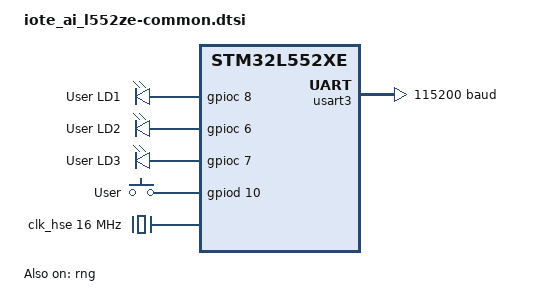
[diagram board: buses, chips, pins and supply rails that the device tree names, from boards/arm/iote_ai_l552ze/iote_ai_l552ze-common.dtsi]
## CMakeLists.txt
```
# SPDX-License-Identifier: Apache-2.0

cmake_minimum_required(VERSION 3.13.1)
# Re-direct the directory where the 'boards' directory is found from
# $ZEPHYR_BASE to this directory.
set(BOARD_ROOT ${CMAKE_CURRENT_LIST_DIR})

# This sample is only compatible with iote_ai_l552ze
set(BOARD iote_ai_l552ze)

find_package(Zephyr REQUIRED HINTS $ENV{ZEPHYR_BASE})
project(iote_ai_stm32l5)

# A simple Blinky test
#target_sources(app PRIVATE src/main.c)

# A simple IMU test
#target_sources(app PRIVATE src/main_mpu6050.c)

# A simple shell test
target_sources(app PRIVATE src/main_shell.c src/test_module.c)
target_sources_ifdef(CONFIG_SHELL_DYNAMIC_CMDS app PRIVATE src/dynamic_cmd.c src/qsort.c)
target_sources_ifdef(CONFIG_SHELL_BACKEND_SERIAL app PRIVATE src/uart_reinit.c)

# For overriding the clock control
#target_sources(app PRIVATE src/stm32_hal/clock_config.c)
```

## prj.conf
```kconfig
#
# Copyright (c) 2020 Petri Oksanen
#
# SPDX-License-Identifier: Apache-2.0
#

CONFIG_I2C=y
CONFIG_SENSOR=y
CONFIG_MPU6050=y
CONFIG_MPU6050_TRIGGER_NONE=y
CONFIG_CBPRINTF_FP_SUPPORT=y

CONFIG_LOG=y
CONFIG_LOG_RUNTIME_FILTERING=y
CONFIG_LOG_BUFFER_SIZE=2048
CONFIG_LOG_PROCESS_TRIGGER_THRESHOLD=0
CONFIG_LOG_DEFAULT_LEVEL=4

# The Zephyr CMSIS emulation assumes that ticks are ms, currently
CONFIG_SYS_CLOCK_TICKS_PER_SEC=1000

CONFIG_MAIN_STACK_SIZE=4096
CONFIG_HEAP_MEM_POOL_SIZE=4096

CONFIG_SHELL=y
CONFIG_SHELL_STACK_SIZE=8192
```

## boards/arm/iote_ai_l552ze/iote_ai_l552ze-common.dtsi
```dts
/*
 * Copyright (c) 2020 Petri Oksanen
 *
 * SPDX-License-Identifier: Apache-2.0
 */

 #include <st/l5/stm32l552Xe.dtsi>
 #include <st/l5/stm32l552z(c-e)txq-pinctrl.dtsi>
 
/* 0x4000D400UL usb */

 / {
     leds {
         compatible = "gpio-leds";
         green_led_1: led_1 {
             gpios = <&gpioc 8 GPIO_ACTIVE_HIGH>;
             label = "User LD1";
         };
         blue_led_1: led_2 {
             gpios = <&gpioc 6 GPIO_ACTIVE_HIGH>;
             label = "User LD2";
         };
         red_led_1: led_3 {
             gpios = <&gpioc 7 GPIO_ACTIVE_HIGH>;
             label = "User LD3";
         };
     };
 
     gpio_keys {
         compatible = "gpio-keys";
         user_button: button {
             label = "User";
             gpios = <&gpiod 10 GPIO_ACTIVE_HIGH>;
         };
     };

     power-states {
		stop0: state0 {
			compatible = "zephyr,power-state";
			power-state-name = "suspend-to-idle";
			substate-id = <1>;
			min-residency-us = <100>;
		};
		stop1: state1 {
			compatible = "zephyr,power-state";
			power-state-name = "suspend-to-idle";
			substate-id = <2>;
			min-residency-us = <500>;
		};
		stop2: state2 {
			compatible = "zephyr,power-state";
			power-state-name = "suspend-to-idle";
			substate-id = <3>;
			min-residency-us = <900>;
		};
	};
};
/* 
&clk_msi {
	status = "okay";
	msi-range = <6>;
	msi-pll-mode;
};

&clk_lse {
	status = "okay";
};

&pll {
	div-m = <1>;
	mul-n = <55>;
	div-p = <7>;
	div-q = <2>;
	div-r = <2>;
	clocks = <&clk_msi>;
	status = "okay";
};

&rcc {
	clocks = <&pll>;
	clock-frequency = <DT_FREQ_M(110)>;
	ahb-prescaler = <1>;
	apb1-prescaler = <1>;
	apb2-prescaler = <1>;
};
*/
 &clk_hse {
	clock-frequency = <DT_FREQ_M(16)>;
	status = "okay";
};

 &pll {
     div-m = <2>;
     mul-n = <24>;
     div-p = <7>;
     div-q = <4>;
     div-r = <2>;
     clocks = <&clk_hse>;
     status = "okay";
 };
 
 &rcc {
     clocks = <&pll>;
     clock-frequency = <DT_FREQ_M(110)>;
     ahb-prescaler = <1>;
     apb1-prescaler = <1>;
     apb2-prescaler = <1>;
 };
 
 &clk_lse {
	status = "okay";
};

 &rng {
     status = "okay";
 };
 
 &usart3 {
    current-speed = <115200>;
    status = "okay";
};

/* 
&spi1 {
	pinctrl-0 = <&spi1_sck_pg2 &spi1_miso_pg3 &spi1_mosi_pg4>;
	status = "okay";
	cs-gpios = <&gpiog 5 GPIO_ACTIVE_LOW>;
	w25q128jvs: w25q128jvs@0 {
		compatible = "jedec,spi-nor";
		label = "W25Q128JVS";
		reg = <0>;
		spi-max-frequency = <40000000>;
		size = <0x1000000>;
		has-dpd;
		t-enter-dpd = <4000>;
		t-exit-dpd = <25000>;
		jedec-id = [ef 40 15];
	};
};
*/
```

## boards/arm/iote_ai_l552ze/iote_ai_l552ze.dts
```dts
/*
 * Copyright (c) 2021 Petri Oksanen
 *
 * SPDX-License-Identifier: Apache-2.0
 */

 /dts-v1/;
 #include "iote_ai_l552ze-common.dtsi"
 
 / {

     model = "IOTE.AI L552ZE board";
     compatible = "iote_ai,iote-ai-l552ze";
 
     #address-cells = <1>;
     #size-cells = <1>;

/* 
     soc {
		usbotg_fs: otgfs@000d400 {
			compatible = "st,stm32-otgfs";
			reg = <0x000d400 0x40000>;
			interrupts = <67 0>;
			interrupt-names = "otgfs";
			num-bidir-endpoints = <6>;
			ram-size = <1280>;
			maximum-speed = "full-speed";
			phys = <&otgfs_phy>;
			clocks = <&rcc STM32_CLOCK_BUS_AHB2 0x00001000>;
			status = "disabled";
			label= "OTGFS";
		};
*/
/* 
		can {
			can1: can@4000d400 {
				compatible = "st,stm32-fdcan";
				#address-cells = <1>;
				#size-cells = <0>;
				reg = <0x4000d400 0x400>, <0x4000d800 0x400>;
				reg-names = "m_can", "message_ram";
				interrupts = <39 0>, <40 0>;
				interrupt-names = "LINE_0", "LINE_1";
				status = "disabled";
				label = "CAN_1";
			};
		};
*/
/*
	};
*/

/*
	otgfs_phy: otgfs_phy {
		compatible = "usb-nop-xceiv";
		#phy-cells = <0>;
		label = "OTGFS_PHY";
	};
*/

/*
     soc {
        usb: usb@4000d400 {
			compatible = "st,stm32-usb";
			reg = <0x4000d400 0x40000>;
			interrupts = <67 0>;
			interrupt-names = "usb";
			num-bidir-endpoints = <8>;
			ram-size = <1024>;
			maximum-speed = "full-speed";
			phys = <&usb_fs_phy>;
			clocks = <&rcc STM32_CLOCK_BUS_APB1 0x04000000>;
			status = "disabled";
			label = "USB";
		};
    };

     usb_fs_phy: usbphy {
		compatible = "usb-nop-xceiv";
		#phy-cells = <0>;
		label = "USB_FS_PHY";
	};
*/
     chosen {
         zephyr,console = &usart3;
         zephyr,shell-uart = &usart3;
         zephyr,sram = &sram0;
         zephyr,flash = &flash0;
     };
 
     aliases {
        led0 = &green_led_1;
        led1 = &blue_led_1;
        led2 = &red_led_1;
        sw0 = &user_button;
  /*      usb = &usbotg_fs; */
     };
 };
 
 &cpu0 {
	cpu-power-states = <&stop0 &stop1 &stop2>;
};
 
&lptim1 {
	status = "okay";
};

&usart1 {
    hw-flow-control;
    pinctrl-0 = <&usart1_tx_pg9
                 &usart1_rx_pg10>;
/*                 &usart1_rts_pg12
                 &usart1_cts_pg11>; */
    current-speed = <115200>;
    status = "okay";
};

&usart2 {
    hw-flow-control;
    pinctrl-0 = <&usart2_tx_pa2
                 &usart2_rx_pa3
                 &usart2_rts_pa1
                 &usart2_cts_pa0>;
    current-speed = <115200>;
    status = "okay";
};

&usart3 {
/*    hw-flow-control;
    pinctrl-0 = <&usart3_tx_pd8
                 &usart3_rx_pd9
                 &usart3_rts_pd12
                 &usart3_cts_pb13>;
*/
	pinctrl-0 = <&usart3_tx_pd8
				 &usart3_rx_pd9>;
};

/* 
&usbotg_fs {
	status = "disabled";
	pinctrl-0 = <&usb_dm_pa11 &usb_dp_pa12>;
};
*/
/*

&can1 {
	pinctrl-0 = <&can1_rx_pd0 &can1_tx_pd1>;
	bus-speed = <125000>;
	sjw = <1>;
	prop-seg = <0>;
	phase-seg1 = <6>;
	phase-seg2 = <5>;
	status = "disabled";
};
*/


&spi1 {
	pinctrl-0 = <&spi1_sck_pg2 &spi1_miso_pg3 &spi1_mosi_pg4>;
	status = "okay";
	cs-gpios = <&gpiog 5 GPIO_ACTIVE_LOW>;
};

&i2c1 {
	pinctrl-0 = <&i2c1_scl_pg14 &i2c1_sda_pg13>;
	status = "okay";
	clock-frequency = <I2C_BITRATE_FAST>;

	mpu6050@68 {
		compatible = "invensense,mpu6050";
		reg = <0x68>;
		status = "okay";
		label = "MPU6050";
		int-gpios = <&gpioa 8 GPIO_ACTIVE_HIGH>;
/*		irq-gpios = <&gpioa 8 GPIO_ACTIVE_HIGH>; */
	};
};

/*
&rtc {
	status = "okay";
};
*/
```

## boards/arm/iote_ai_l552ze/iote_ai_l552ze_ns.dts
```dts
/*
 * Copyright (c) 2020 Petri Oksanen
 *
 * SPDX-License-Identifier: Apache-2.0
 */

 /dts-v1/;
 #include "iote_ai_l552ze-common.dtsi"
 
 / {
     model = "IOTE.AI L552ZE board";
     compatible = "iote_ai,iote-ai-l552ze";
 
     #address-cells = <1>;
     #size-cells = <1>;
 
     chosen {
         zephyr,console = &usart3;
         zephyr,shell-uart = &usart3;
         zephyr,sram = &sram0;
         zephyr,flash = &flash0;
     };
 
     aliases {
        led0 = &green_led_1;
        led1 = &blue_led_1;
        led2 = &red_led_1;
        sw0 = &user_button;
     };
 };
 
 &cpu0 {
	cpu-power-states = <&stop0 &stop1 &stop2>;
};
 
&lptim1 {
	status = "okay";
};

&usart1 {
    hw-flow-control;
    pinctrl-0 = <&usart1_tx_pg9
                 &usart1_rx_pg10
                 &usart1_rts_pg12
                 &usart1_cts_pg11>;
    current-speed = <115200>;
    status = "okay";
};

&usart2 {
    hw-flow-control;
    pinctrl-0 = <&usart2_tx_pa2
                 &usart2_rx_pa3
                 &usart2_rts_pa1
                 &usart2_cts_pa0>;
    current-speed = <115200>;
    status = "okay";
};

&usb {
	status = "okay";
	pinctrl-0 = <&usb_dm_pa11 &usb_dp_pa12>;
};

&can1 {
	pinctrl-0 = <&can1_rx_pd0 &can1_tx_pd1>;
	bus-speed = <125000>;
	sjw = <1>;
	prop-seg = <0>;
	phase-seg1 = <6>;
	phase-seg2 = <5>;
	status = "disabled";
};

&spi1 {
	pinctrl-0 = <&spi1_sck_pg2 &spi1_miso_pg3 &spi1_mosi_pg4>;
	status = "okay";
	cs-gpios = <&gpiog 5 GPIO_ACTIVE_LOW>;
};

&i2c1 {
	pinctrl-0 = <&i2c1_scl_pg14 &i2c1_sda_pg13>;
	status = "okay";
	clock-frequency = <I2C_BITRATE_FAST>;

	mpu6050@68 {
		compatible = "invensense,mpu6050";
		reg = <0x68>;
		status = "okay";
		label = "MPU6050";
		int-gpios = <&gpioa 8 GPIO_ACTIVE_HIGH>;
/*		irq-gpios = <&gpioa 8 GPIO_ACTIVE_HIGH>; */
	};
};

&rtc {
	status = "okay";
};
```

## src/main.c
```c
/*
 * Copyright (c) 2021 Petri Oksanen
 *
 * SPDX-License-Identifier: Apache-2.0
 */

#include <zephyr.h>
#include <device.h>
#include <devicetree.h>
#include <drivers/gpio.h>
#include <sys/printk.h>

/* 1000 msec = 1 sec */
#define SLEEP_TIME_MS   1000

// #define CLOCK_CONFIG_OVERRIDE 1

/* The devicetree node identifier for the "led0" alias. */
#define LED0_NODE DT_ALIAS(led0)

#if DT_NODE_HAS_STATUS(LED0_NODE, okay)
#define LED0	DT_GPIO_LABEL(LED0_NODE, gpios)
#define PIN	DT_GPIO_PIN(LED0_NODE, gpios)
#define FLAGS	DT_GPIO_FLAGS(LED0_NODE, gpios)
#else
/* A build error here means your board isn't set up to blink an LED. */
#error "Unsupported board: led0 devicetree alias is not defined"
#define LED0	""
#define PIN	0
#define FLAGS	0
#endif

#ifdef CLOCK_CONFIG_OVERRIDE
/* For overriding the clock config, for testing */
extern void SystemClock_Config(void);
extern void PeriphCommonClock_Config(void);
#endif

void main(void)
{
#ifdef CLOCK_CONFIG_OVERRIDE
/* For overriding the clock config, for testing */
	SystemClock_Config();
	PeriphCommonClock_Config();
#endif

	printk("Hello World! %s\n", CONFIG_ARCH);
	const struct device *dev;
	bool led_is_on = true;
	int ret;

	dev = device_get_binding(LED0);
	if (dev == NULL) {
		return;
	}

	ret = gpio_pin_configure(dev, PIN, GPIO_OUTPUT_ACTIVE | FLAGS);
	if (ret < 0) {
		return;
	}

	while (1) {
		gpio_pin_set(dev, PIN, (int)led_is_on);
		led_is_on = !led_is_on;
		k_msleep(SLEEP_TIME_MS);
	}
}
```

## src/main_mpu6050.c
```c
/*
 * Copyright (c) 2019 Nordic Semiconductor ASA
 *
 * SPDX-License-Identifier: Apache-2.0
 */

#include <zephyr.h>
#include <device.h>
#include <drivers/sensor.h>
#include <stdio.h>


static const char *now_str(void)
{
	static char buf[16]; /* ...HH:MM:SS.MMM */
	uint32_t now = k_uptime_get_32();
	unsigned int ms = now % MSEC_PER_SEC;
	unsigned int s;
	unsigned int min;
	unsigned int h;

	now /= MSEC_PER_SEC;
	s = now % 60U;
	now /= 60U;
	min = now % 60U;
	now /= 60U;
	h = now;

	snprintf(buf, sizeof(buf), "%u:%02u:%02u.%03u",
		 h, min, s, ms);
	return buf;
}

static int process_mpu6050(const struct device *dev)
{
	struct sensor_value temperature;
	struct sensor_value accel[3];
	struct sensor_value gyro[3];
	int rc = sensor_sample_fetch(dev);

	if (rc == 0) {
		rc = sensor_channel_get(dev, SENSOR_CHAN_ACCEL_XYZ,
					accel);
	}
	if (rc == 0) {
		rc = sensor_channel_get(dev, SENSOR_CHAN_GYRO_XYZ,
					gyro);
	}
	if (rc == 0) {
		rc = sensor_channel_get(dev, SENSOR_CHAN_AMBIENT_TEMP,
					&temperature);
	}
	if (rc == 0) {
		printf("[%s]:%g Cel\n"
		       "  accel %f %f %f m/s/s\n"
		       "  gyro  %f %f %f rad/s\n",
		       now_str(),
		       sensor_value_to_double(&temperature),
		       sensor_value_to_double(&accel[0]),
		       sensor_value_to_double(&accel[1]),
		       sensor_value_to_double(&accel[2]),
		       sensor_value_to_double(&gyro[0]),
		       sensor_value_to_double(&gyro[1]),
		       sensor_value_to_double(&gyro[2]));
	} else {
		printf("sample fetch/get failed: %d\n", rc);
	}

	return rc;
}

#ifdef CONFIG_MPU6050_TRIGGER
static struct sensor_trigger trigger;

static void handle_mpu6050_drdy(const struct device *dev,
				struct sensor_trigger *trig)
{
	int rc = process_mpu6050(dev);

	if (rc != 0) {
		printf("cancelling trigger due to failure: %d\n", rc);
		(void)sensor_trigger_set(dev, trig, NULL);
		return;
	}
}
#endif /* CONFIG_MPU6050_TRIGGER */

void main(void)
{
	const char *const label = DT_LABEL(DT_INST(0, invensense_mpu6050));
	const struct device *mpu6050 = device_get_binding(label);

	if (!mpu6050) {
		printf("Failed to find sensor %s\n", label);
		return;
	}

#ifdef CONFIG_MPU6050_TRIGGER
	trigger = (struct sensor_trigger) {
		.type = SENSOR_TRIG_DATA_READY,
		.chan = SENSOR_CHAN_ALL,
	};
	if (sensor_trigger_set(mpu6050, &trigger,
			       handle_mpu6050_drdy) < 0) {
		printf("Cannot configure trigger\n");
		return;
	}
	printk("Configured for triggered sampling.\n");
#endif

	while (!IS_ENABLED(CONFIG_MPU6050_TRIGGER)) {
		int rc = process_mpu6050(mpu6050);

		if (rc != 0) {
			break;
		}
		k_sleep(K_SECONDS(2));
	}

	/* triggered runs with its own thread after exit */
}
```
